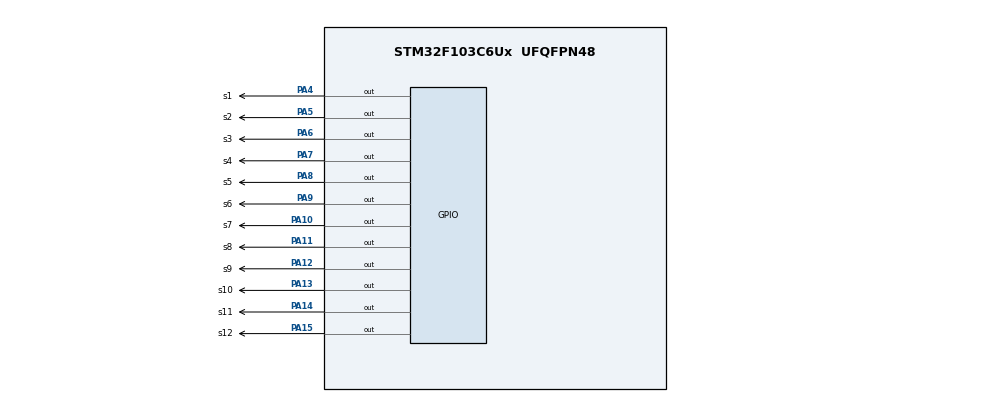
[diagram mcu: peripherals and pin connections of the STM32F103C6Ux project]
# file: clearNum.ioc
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Mcu.Family=STM32F1
Mcu.Name=STM32F103C6Ux
Mcu.Package=UFQFPN48
NVIC.PriorityGroup=NVIC_PRIORITYGROUP_4
PA10.GPIO_Label=s7
PA10.Signal=GPIO_Output
PA11.GPIO_Label=s8
PA11.Signal=GPIO_Output
PA12.GPIO_Label=s9
PA12.Signal=GPIO_Output
PA13.GPIO_Label=s10
PA13.Signal=GPIO_Output
PA14.GPIO_Label=s11
PA14.Signal=GPIO_Output
PA15.GPIO_Label=s12
PA15.Signal=GPIO_Output
PA4.GPIO_Label=s1
PA4.Signal=GPIO_Output
PA5.GPIO_Label=s2
PA5.Signal=GPIO_Output
PA6.GPIO_Label=s3
PA6.Signal=GPIO_Output
PA7.GPIO_Label=s4
PA7.Signal=GPIO_Output
PA8.GPIO_Label=s5
PA8.Signal=GPIO_Output
PA9.GPIO_Label=s6
PA9.Signal=GPIO_Output
ProjectManager.HeapSize=0x200
ProjectManager.StackSize=0x400
ProjectManager.TargetToolchain=STM32CubeIDE
RCC.APB1Freq_Value=8000000
RCC.APB2Freq_Value=8000000
VP_SYS_VS_ND.Mode=No_Debug
board=custom

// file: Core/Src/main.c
/* USER CODE BEGIN Header */
/**
  ******************************************************************************
  * @file           : main.c
  * @brief          : Main program body
  ******************************************************************************
  * @attention
  *
  * <h2><center>&copy; Copyright (c) 2022 STMicroelectronics.
  * All rights reserved.</center></h2>
  *
  * This software component is licensed by ST under BSD 3-Clause license,
  * the "License"; You may not use this file except in compliance with the
  * License. You may obtain a copy of the License at:
  *                        opensource.org/licenses/BSD-3-Clause
  *
  ******************************************************************************
  */
/* USER CODE END Header */
#include "main.h"

void SystemClock_Config(void);
static void MX_GPIO_Init(void);

/* USER CODE BEGIN 0 */
void clearNumberOnClock(int num);
/* USER CODE END 0 */

int main(void)
{

  /* MCU Configuration--------------------------------------------------------*/

  /* Reset of all peripherals, Initializes the Flash interface and the Systick. */
  HAL_Init();

  /* Configure the system clock */
  SystemClock_Config();

  /* Initialize all configured peripherals */
  MX_GPIO_Init();

  /* Infinite loop */
  /* USER CODE BEGIN WHILE */
  int temp = -1;
  while (1)
  {
    /* USER CODE END WHILE */

    /* USER CODE BEGIN 3 */
	  	  temp++;
	  	  clearNumberOnClock(temp);
	  	  HAL_Delay(1000);
  }
  /* USER CODE END 3 */
}

void SystemClock_Config(void)
{
  RCC_OscInitTypeDef RCC_OscInitStruct = {0};
  RCC_ClkInitTypeDef RCC_ClkInitStruct = {0};

  /** Initializes the RCC Oscillators according to the specified parameters
  * in the RCC_OscInitTypeDef structure.
  */
  RCC_OscInitStruct.OscillatorType = RCC_OSCILLATORTYPE_HSI;
  RCC_OscInitStruct.HSIState = RCC_HSI_ON;
  RCC_OscInitStruct.HSICalibrationValue = RCC_HSICALIBRATION_DEFAULT;
  RCC_OscInitStruct.PLL.PLLState = RCC_PLL_NONE;
  if (HAL_RCC_OscConfig(&RCC_OscInitStruct) != HAL_OK)
  {
    Error_Handler();
  }
  /** Initializes the CPU, AHB and APB buses clocks
  */
  RCC_ClkInitStruct.ClockType = RCC_CLOCKTYPE_HCLK|RCC_CLOCKTYPE_SYSCLK
                              |RCC_CLOCKTYPE_PCLK1|RCC_CLOCKTYPE_PCLK2;
  RCC_ClkInitStruct.SYSCLKSource = RCC_SYSCLKSOURCE_HSI;
  RCC_ClkInitStruct.AHBCLKDivider = RCC_SYSCLK_DIV1;
  RCC_ClkInitStruct.APB1CLKDivider = RCC_HCLK_DIV1;
  RCC_ClkInitStruct.APB2CLKDivider = RCC_HCLK_DIV1;

  if (HAL_RCC_ClockConfig(&RCC_ClkInitStruct, FLASH_LATENCY_0) != HAL_OK)
  {
    Error_Handler();
  }
}

static void MX_GPIO_Init(void)
{
  GPIO_InitTypeDef GPIO_InitStruct = {0};

  /* GPIO Ports Clock Enable */
  __HAL_RCC_GPIOA_CLK_ENABLE();

  /*Configure GPIO pin Output Level */
  HAL_GPIO_WritePin(GPIOA, s1_Pin|s2_Pin|s3_Pin|s4_Pin
                          |s5_Pin|s6_Pin|s7_Pin|s8_Pin
                          |s9_Pin|s10_Pin|s11_Pin|s12_Pin, GPIO_PIN_RESET);

  /*Configure GPIO pins : s1_Pin s2_Pin s3_Pin s4_Pin
                           s5_Pin s6_Pin s7_Pin s8_Pin
                           s9_Pin s10_Pin s11_Pin s12_Pin */
  GPIO_InitStruct.Pin = s1_Pin|s2_Pin|s3_Pin|s4_Pin
                          |s5_Pin|s6_Pin|s7_Pin|s8_Pin
                          |s9_Pin|s10_Pin|s11_Pin|s12_Pin;
  GPIO_InitStruct.Mode = GPIO_MODE_OUTPUT_PP;
  GPIO_InitStruct.Pull = GPIO_NOPULL;
  GPIO_InitStruct.Speed = GPIO_SPEED_FREQ_LOW;
  HAL_GPIO_Init(GPIOA, &GPIO_InitStruct);

}

/* USER CODE BEGIN 4 */
void clearNumberOnClock(int num){
	switch (num) {
		case 0:
				HAL_GPIO_WritePin(s2_GPIO_Port, s2_Pin, SET);
				break;
		case 12:
			HAL_GPIO_WritePin(s2_GPIO_Port, s2_Pin, SET);
			break;
		case 1:
				HAL_GPIO_WritePin(s3_GPIO_Port, s3_Pin, SET);
				break;
		case 2:
				HAL_GPIO_WritePin(s4_GPIO_Port, s4_Pin, SET);
				break;
		case 3:
				HAL_GPIO_WritePin(s5_GPIO_Port, s5_Pin, SET);
				break;
		case 4:
				HAL_GPIO_WritePin(s6_GPIO_Port, s6_Pin, SET);
				break;
		case 5:
				HAL_GPIO_WritePin(s7_GPIO_Port, s7_Pin, SET);
				break;
		case 6:
				HAL_GPIO_WritePin(s8_GPIO_Port, s8_Pin, SET);
				break;
		case 7:
				HAL_GPIO_WritePin(s9_GPIO_Port, s9_Pin, SET);
				break;
		case 8:
				HAL_GPIO_WritePin(s10_GPIO_Port, s10_Pin, SET);
				break;
		case 9:
				HAL_GPIO_WritePin(s11_GPIO_Port, s11_Pin, SET);
				break;
		case 10:
				HAL_GPIO_WritePin(s12_GPIO_Port, s12_Pin, SET);
				break;
		case 11:
				HAL_GPIO_WritePin(s1_GPIO_Port, s1_Pin, SET);
				break;
		}
}
/* USER CODE END 4 */

void Error_Handler(void)
{
  __disable_irq();
  while (1)
  {
  }
}

/************************ (C) COPYRIGHT STMicroelectronics *****END OF FILE****/
